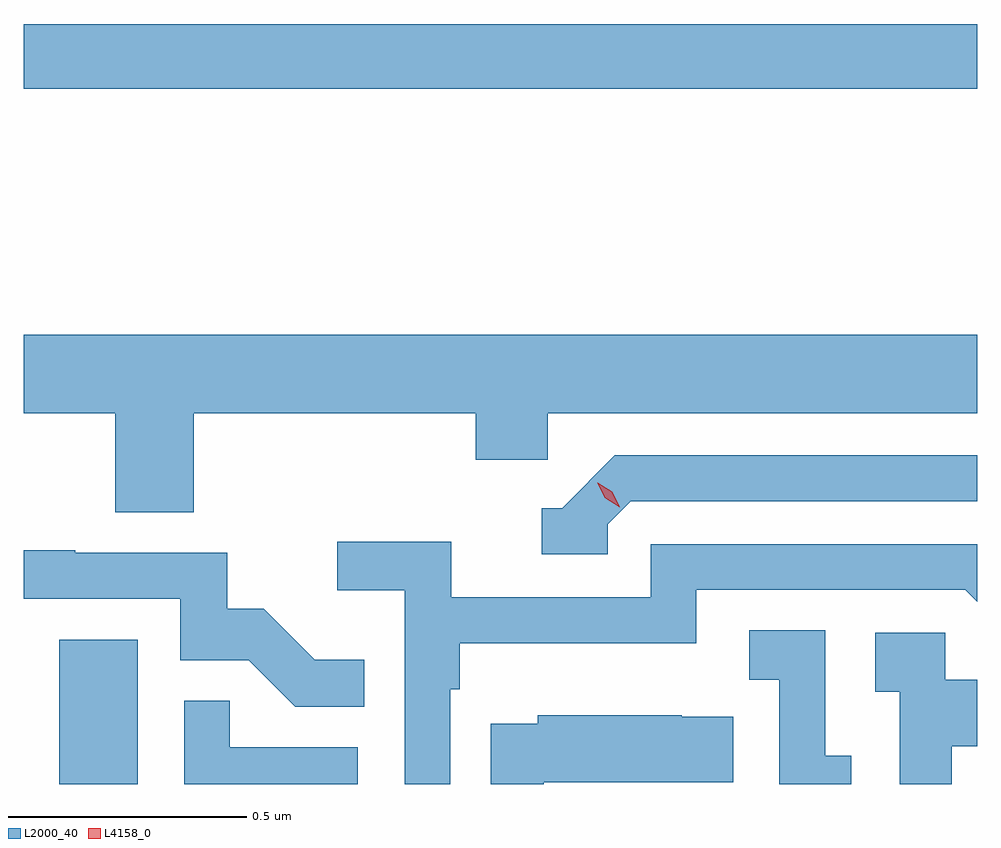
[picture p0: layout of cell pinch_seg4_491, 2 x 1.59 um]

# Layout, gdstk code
import gdstk
lib = gdstk.Library(unit=1e-6, precision=1e-09)
def R(c, l, rs):  # rectangles x0, y0, x1, y1
    for r in rs: c.add(gdstk.rectangle(r[:2], r[2:], *l))
def P(c, l, *ps):  # polygons
    for p in ps: c.add(gdstk.Polygon(p, *l))
L2000_40 = (2000, 40)
L4158_0 = (4158, 0)

pinch_seg4_491 = lib.new_cell('pinch_seg4_491')
R(pinch_seg4_491, L2000_40, [(897.254,753.418,897.418,753.721), (897.179,754.876,899.179,755.012)])
P(pinch_seg4_491, L2000_40, [(897.536,754.196),(898.127,754.196),(898.127,754.098),(898.278,754.098),(898.278,754.196),(899.179,754.196),(899.179,754.36),(897.179,754.36),(897.179,754.196),(897.371,754.196),(897.371,753.988),(897.536,753.988)],
  [(898.404,753.963),(898.452,754.011),(899.179,754.011),(899.179,754.107),(898.419,754.107),(898.308,753.996),(898.265,753.996),(898.265,753.9),(898.404,753.9)],
  [(898.074,753.617),(898.094,753.617),(898.094,753.713),(898.59,753.713),(898.59,753.825),(899.154,753.825),(899.179,753.8),(899.179,753.921),(898.494,753.921),(898.494,753.81),(898.076,753.81),(898.076,753.926),(897.837,753.926),(897.837,753.824),(897.978,753.824),(897.978,753.418),(898.074,753.418)],
  [(897.893,753.679),(897.789,753.679),(897.682,753.786),(897.606,753.786),(897.606,753.903),(897.287,753.903),(897.287,753.908),(897.179,753.908),(897.179,753.807),(897.507,753.807),(897.507,753.678),(897.651,753.678),(897.749,753.58),(897.893,753.58)],
  [(898.915,753.477),(898.86,753.477),(898.86,753.74),(898.701,753.74),(898.701,753.637),(898.764,753.637),(898.764,753.418),(898.915,753.418)],
  [(899.125,753.497),(899.179,753.497),(899.179,753.637),(899.112,753.637),(899.112,753.735),(898.965,753.735),(898.965,753.611),(899.016,753.611),(899.016,753.418),(899.125,753.418)],
  [(897.88,753.495),(897.611,753.495),(897.611,753.593),(897.516,753.593),(897.516,753.418),(897.88,753.418)],
  [(898.27,753.422),(898.667,753.422),(898.667,753.559),(898.559,753.559),(898.559,753.562),(898.257,753.562),(898.257,753.544),(898.159,753.544),(898.159,753.418),(898.27,753.418)])
P(pinch_seg4_491, L4158_0, [(898.429,753.998),(898.398,754.018),(898.382,754.05),(898.382,754.05),(898.383,754.05),(898.413,754.031),(898.429,753.998),(898.429,753.998)])

lib.write_gds('pinch_seg4_491.gds')
